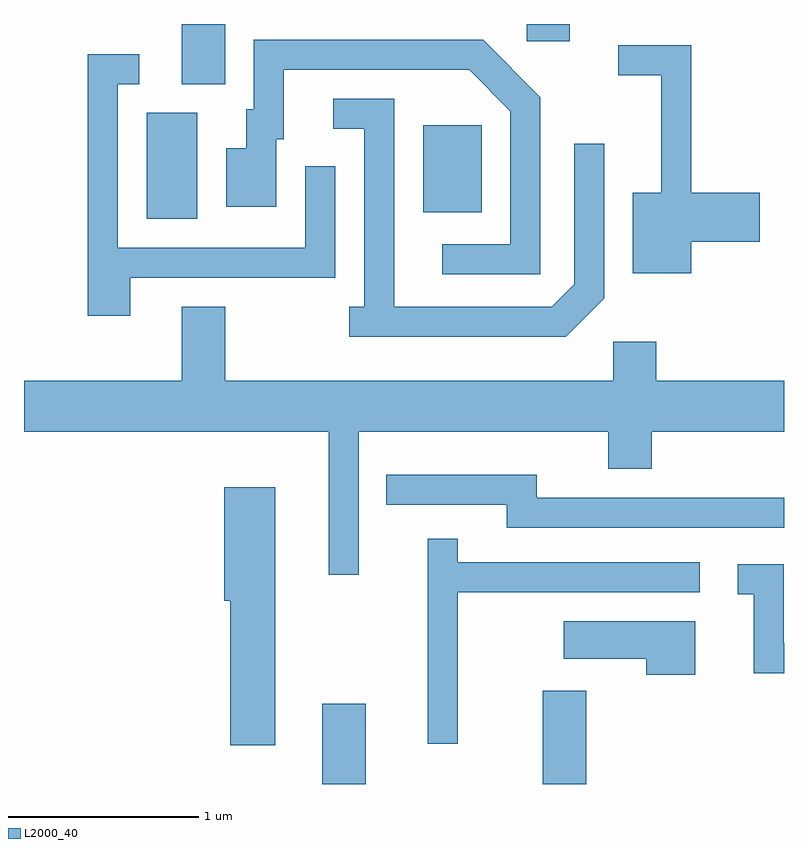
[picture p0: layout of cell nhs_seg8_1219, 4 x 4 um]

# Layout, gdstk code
import gdstk
lib = gdstk.Library(unit=1e-6, precision=1e-09)
def R(c, l, rs):  # rectangles x0, y0, x1, y1
    for r in rs: c.add(gdstk.rectangle(r[:2], r[2:], *l))
def P(c, l, *ps):  # polygons
    for p in ps: c.add(gdstk.Polygon(p, *l))
L2000_40 = (2000, 40)

nhs_seg8_1219 = lib.new_cell('nhs_seg8_1219')
R(nhs_seg8_1219, L2000_40, [(223.181,1832.342,223.409,1832.764), (224.341,1832.342,224.569,1832.834), (222.256,1835.316,222.524,1835.874), (223.711,1835.351,224.019,1835.809), (222.441,1836.026,222.669,1836.342), (224.256,1836.251,224.484,1836.342)])
P(nhs_seg8_1219, L2000_40, [(224.329,1835.957),(224.027,1836.259),(222.821,1836.259),(222.821,1835.894),(222.781,1835.894),(222.781,1835.689),(222.676,1835.689),(222.676,1835.381),(222.939,1835.381),(222.939,1835.736),(222.979,1835.736),(222.979,1836.101),(223.954,1836.101),(224.171,1835.884),(224.171,1835.184),(223.813,1835.184),(223.813,1835.026),(224.329,1835.026)],
  [(225.124,1835.196),(225.484,1835.196),(225.484,1835.454),(225.124,1835.454),(225.124,1836.229),(224.738,1836.229),(224.738,1836.071),(224.966,1836.071),(224.966,1835.454),(224.816,1835.454),(224.816,1835.031),(225.124,1835.031)],
  [(222.169,1835.006),(223.249,1835.006),(223.249,1835.593),(223.091,1835.593),(223.091,1835.164),(222.104,1835.164),(222.104,1836.026),(222.218,1836.026),(222.218,1836.184),(221.946,1836.184),(221.946,1834.806),(222.169,1834.806)],
  [(224.664,1834.899),(224.664,1835.713),(224.506,1835.713),(224.506,1834.972),(224.389,1834.854),(223.559,1834.854),(223.559,1835.949),(223.238,1835.949),(223.238,1835.791),(223.401,1835.791),(223.401,1834.854),(223.323,1834.854),(223.323,1834.696),(224.462,1834.696)],
  [(223.374,1834.196),(224.686,1834.196),(224.686,1834.001),(224.914,1834.001),(224.914,1834.196),(225.611,1834.196),(225.611,1834.464),(224.939,1834.464),(224.939,1834.669),(224.711,1834.669),(224.711,1834.464),(222.669,1834.464),(222.669,1834.854),(222.441,1834.854),(222.441,1834.464),(221.611,1834.464),(221.611,1834.196),(223.216,1834.196),(223.216,1833.443),(223.374,1833.443)],
  [(225.611,1833.849),(224.309,1833.849),(224.309,1833.969),(223.518,1833.969),(223.518,1833.811),(224.151,1833.811),(224.151,1833.691),(225.611,1833.691)],
  [(222.934,1833.904),(222.666,1833.904),(222.666,1833.306),(222.696,1833.306),(222.696,1832.546),(222.934,1832.546)],
  [(223.894,1833.351),(225.168,1833.351),(225.168,1833.509),(223.894,1833.509),(223.894,1833.633),(223.736,1833.633),(223.736,1832.553),(223.894,1832.553)],
  [(225.611,1833.084),(225.609,1833.084),(225.609,1833.499),(225.368,1833.499),(225.368,1833.341),(225.451,1833.341),(225.451,1832.926),(225.611,1832.926)],
  [(225.144,1833.199),(224.451,1833.199),(224.451,1833.001),(224.886,1833.001),(224.886,1832.916),(225.144,1832.916)])

lib.write_gds('nhs_seg8_1219.gds')
